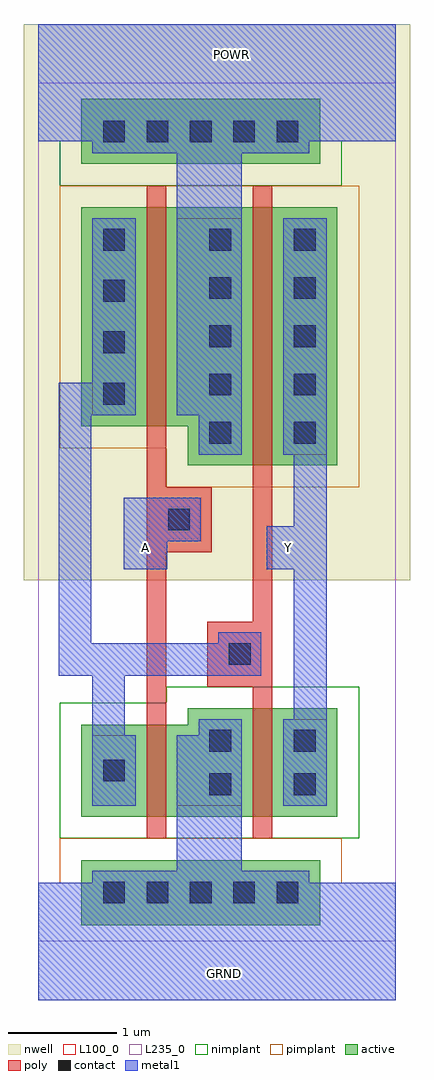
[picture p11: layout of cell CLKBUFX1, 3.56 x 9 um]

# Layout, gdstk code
import gdstk
lib = gdstk.Library(unit=1e-6, precision=1e-09)
def R(c, l, rs):  # rectangles x0, y0, x1, y1
    for r in rs: c.add(gdstk.rectangle(r[:2], r[2:], *l))
def A(c, l, x, y, w, h, nx, ny, dx, dy):  # array of equal rectangles
    R(c, l, [(x+i*dx, y+j*dy, x+i*dx+w, y+j*dy+h) for i in range(nx) for j in range(ny)])
def P(c, l, *ps):  # polygons
    for p in ps: c.add(gdstk.Polygon(p, *l))
active = (1, 0)
nwell = (2, 0)
poly = (3, 0)
nimplant = (4, 0)
pimplant = (5, 0)
contact = (6, 0)
metal1 = (7, 0)
L100_0 = (100, 0)
L235_0 = (235, 0)

clkbufx1 = lib.new_cell('CLKBUFX1')
R(clkbufx1, active, [(0.4,0.15,2.6,0.75), (0.4,1.15,1,2), (1,1.15,1.18,2), (1.98,1.15,2.16,2.15), (2.16,1.15,2.76,2.15), (1.98,4.39,2.16,6.77), (2.16,4.39,2.76,6.77), (0.4,4.75,1,6.77), (1,4.75,1.18,6.77), (0.4,7.17,2.6,7.77)])
P(clkbufx1, active, [(1.98,2.15),(1.38,2.15),(1.38,2),(1.18,2),(1.18,1.15),(1.98,1.15)],
  [(1.98,6.77),(1.18,6.77),(1.18,4.75),(1.38,4.75),(1.38,4.39),(1.98,4.39)])
R(clkbufx1, nwell, [(-0.13,3.33,3.43,8.46)])
R(clkbufx1, poly, [(1,0.95,1.18,1.15), (1,0.95,1.18,2.2), (1.98,0.95,2.16,1.15), (1.98,0.95,2.16,2.35), (1,2,1.18,2.2), (1.98,2.15,2.16,2.35), (1.56,2.35,2.16,2.95), (1.98,4.19,2.16,4.39), (1.98,4.19,2.16,6.97), (1,4.55,1.18,4.75), (1,4.55,1.18,6.97), (1,6.77,1.18,6.97), (1.98,6.77,2.16,6.97)])
P(clkbufx1, poly, [(1.6,4.19),(1.18,4.19),(1.18,4.55),(1,4.55),(1,2.19),(1.18,2.19),(1.18,3.59),(1.6,3.59)])
P(clkbufx1, nimplant, [(2.96,2.35),(1.18,2.35),(1.18,2.2),(0.2,2.2),(0.2,0.95),(2.96,0.95)],
  [(3.3,8.46),(0,8.46),(0,7.38),(0.2,7.38),(0.2,6.97),(2.8,6.97),(2.8,7.38),(3.3,7.38)])
P(clkbufx1, pimplant, [(2.96,6.97),(0.2,6.97),(0.2,4.55),(1.18,4.55),(1.18,4.19),(2.96,4.19)],
  [(3.3,0.54),(2.8,0.54),(2.8,0.95),(0.2,0.95),(0.2,0.54),(0,0.54),(0,-0.54),(3.3,-0.54)])
A(clkbufx1, contact, 0.6, 0.35, 0.2, 0.2, 5, 2, 0.4, 7.02)
A(clkbufx1, contact, 1.58, 4.59, 0.2, 0.2, 1, 5, 0, 0.445)
A(clkbufx1, contact, 2.36, 4.59, 0.2, 0.2, 1, 5, 0, 0.445)
A(clkbufx1, contact, 0.6, 4.95, 0.2, 0.2, 1, 3, 0, 0.475)
R(clkbufx1, contact, [(1.58,1.35,1.78,1.55), (2.36,1.35,2.56,1.55), (0.6,1.475,0.8,1.675), (1.58,1.75,1.78,1.95), (2.36,1.75,2.56,1.95), (1.76,2.55,1.96,2.75), (1.2,3.79,1.4,3.99), (0.6,6.37,0.8,6.57)])
R(clkbufx1, metal1, [(0,-0.54,3.3,0.54), (2.36,2.05,2.66,4.49), (1.66,2.45,2.06,2.85), (0.79,3.43,1.19,4.09), (2.11,3.43,2.36,3.83), (0.84,3.48,1.14,3.78), (2.16,3.48,2.46,3.78), (1.1,3.69,1.5,4.09), (0,7.38,3.3,8.46)])
P(clkbufx1, metal1, [(1.88,6.67),(1.28,6.67),(1.28,4.85),(1.48,4.85),(1.48,4.49),(1.88,4.49)],
  [(1.88,2.05),(1.48,2.05),(1.48,1.9),(1.28,1.9),(1.28,1.25),(1.88,1.25)],
  [(2.5,0.65),(1.88,0.65),(1.88,1.25),(1.28,1.25),(1.28,0.65),(0.5,0.65),(0.5,0.25),(2.5,0.25)],
  [(2.5,7.67),(0.5,7.67),(0.5,7.27),(1.28,7.27),(1.28,6.67),(1.88,6.67),(1.88,7.27),(2.5,7.27)])
R(clkbufx1, L100_0, [(0.5,1.25,0.9,1.9), (2.26,1.25,2.66,2.05), (2.26,4.49,2.66,6.67), (0.5,4.85,0.9,6.67)])
P(clkbufx1, L100_0, [(1.88,2.05),(1.48,2.05),(1.48,1.9),(1.28,1.9),(1.28,1.25),(1.88,1.25)],
  [(1.88,6.67),(1.28,6.67),(1.28,4.85),(1.48,4.85),(1.48,4.49),(1.88,4.49)])
R(clkbufx1, L235_0, [(0,0,3.3,7.92)])
clkbufx1.add(gdstk.FlexPath([(2.07,4.2),(2.07,2.31)], 0.18, ends="flush", simple_path=True, layer=3, datatype=0))  # poly
clkbufx1.add(gdstk.FlexPath([(0.65,2.53),(0.65,1.85)], 0.3, ends="flush", simple_path=True, layer=7, datatype=0))  # metal1
clkbufx1.add(gdstk.FlexPath([(0.7,1.25),(0.7,1.9)], 0.4, ends="flush", simple_path=True, layer=7, datatype=0))  # metal1
clkbufx1.add(gdstk.FlexPath([(0.69,5),(0.34,5),(0.34,2.6),(1.72,2.6)], 0.3, ends="flush", simple_path=True, layer=7, datatype=0))  # metal1
clkbufx1.add(gdstk.FlexPath([(2.46,1.25),(2.46,2.05)], 0.4, ends="flush", simple_path=True, layer=7, datatype=0))  # metal1
clkbufx1.add(gdstk.FlexPath([(0.7,4.85),(0.7,6.67)], 0.4, ends="flush", simple_path=True, layer=7, datatype=0))  # metal1
clkbufx1.add(gdstk.FlexPath([(2.46,4.49),(2.46,6.67)], 0.4, ends="flush", simple_path=True, layer=7, datatype=0))  # metal1
clkbufx1.add(gdstk.Label('GRND', (1.72,-0.3), layer=230, texttype=0))
clkbufx1.add(gdstk.Label('A', (0.99,3.63), layer=230, texttype=0))
clkbufx1.add(gdstk.Label('Y', (2.31,3.63), layer=230, texttype=0))
clkbufx1.add(gdstk.Label('POWR', (1.78,8.18), layer=230, texttype=0))

lib.write_gds('CLKBUFX1.gds')
